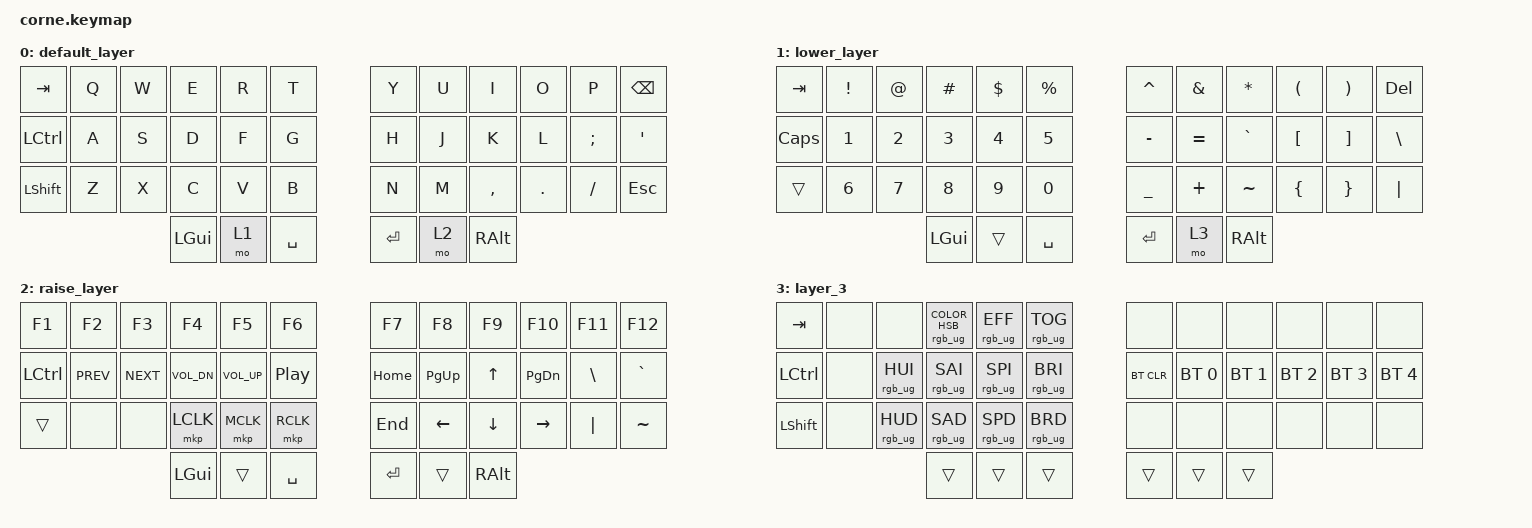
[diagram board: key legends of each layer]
/*
 * Copyright (c) 2020 The ZMK Contributors
 *
 * SPDX-License-Identifier: MIT
 */

#include <behaviors.dtsi>
#include <dt-bindings/zmk/bt.h>
#include <dt-bindings/zmk/keys.h>
#include <dt-bindings/zmk/mouse.h>
#include <dt-bindings/zmk/rgb.h>

/ {
    keymap {
        compatible = "zmk,keymap";

        default_layer {
            // -----------------------------------------------------------------------------------------
            // | TAB  |  Q  |  W  |  E  |  R  |  T  |  split  |  Y  |  U   |  I  |  O  |  P  | BKSP |
            // | CTRL |  A  |  S  |  D  |  F  |  G  |  split  |  H  |  J   |  K  |  L  |  ;  |  '   |
            // | SHFT |  Z  |  X  |  C  |  V  |  B  |  split  |  N  |  M   |  ,  |  .  |  /  | ESC  |
            //                    | GUI | LWR | SPC |  split  | ENT | RSE  | ALT |

            bindings = <
&kp TAB         &kp Q  &kp W  &kp E     &kp R  &kp T        &kp Y    &kp U  &kp I      &kp O    &kp P     &kp BSPC
&kp LCTRL       &kp A  &kp S  &kp D     &kp F  &kp G        &kp H    &kp J  &kp K      &kp L    &kp SEMI  &kp SQT
&kp LEFT_SHIFT  &kp Z  &kp X  &kp C     &kp V  &kp B        &kp N    &kp M  &kp COMMA  &kp DOT  &kp FSLH  &kp ESC
                              &kp LGUI  &mo 1  &kp SPACE    &kp RET  &mo 2  &kp RALT
            >;
        };

        lower_layer {
            // -----------------------------------------------------------------------------------------
            // | TAB  |  !  |  @  |  #  |  $  |  %  |  split  |  ^  |  &  |  *  |  (  |  )  | DEL |
            // | CTRL |  1  |  2  |  3  |  4  |  5  |  split  |  -  |  =  |  [  |  ]  |  \  |  `  |
            // | SHFT |  6  |  7  |  8  |  9  |  0  |  split  |  _  |  +  |  {  |  }  | "|" |  ~  |
            //                    | GUI |     | SPC |  split  | ENT | MO3 | ALT |

            bindings = <
&kp TAB   &kp EXCLAMATION  &kp AT_SIGN   &kp HASH      &kp DLLR      &kp PERCENT    &kp CARET       &kp AMPERSAND  &kp ASTERISK  &kp LEFT_PARENTHESIS  &kp RIGHT_PARENTHESIS  &kp DEL
&kp CAPS  &kp NUMBER_1     &kp NUMBER_2  &kp NUMBER_3  &kp NUMBER_4  &kp N5         &kp MINUS       &kp EQUAL      &kp GRAVE     &kp LEFT_BRACKET      &kp RIGHT_BRACKET      &kp BSLH
&trans    &kp N6           &kp N7        &kp N8        &kp N9        &kp N0         &kp UNDERSCORE  &kp PLUS       &kp TILDE     &kp LEFT_BRACE        &kp RIGHT_BRACE        &kp PIPE
                                         &kp LGUI      &trans        &kp SPACE      &kp RET         &mo 3          &kp RALT
            >;
        };

        raise_layer {
            // -----------------------------------------------------------------------------------------
            // |  F1  |  F2  |  F3  |  F4  |  F5  |  F6  |  split  |  F7  |  F8  |  F9  |  F10 | F11 | F12 |
            // | CTRL | PREV | NEXT |volDN |volUP | P-P  |  split  | HOME | PGUP |  Up  | PGUP |     |     |
            // | SHFT |  x   |  x   | L-C  | M-C  | R-C  |  split  | END  | LEFT | Down | RIGHT|     |     |
            //                      | GUI  |      | SPC  |  split  | ENT  |      | ALT  |

            bindings = <
&kp F1     &kp F2      &kp F3      &kp F4        &kp F5        &kp F6              &kp F7    &kp F8       &kp F9    &kp F10        &kp F11   &kp F12
&kp LCTRL  &kp C_PREV  &kp C_NEXT  &kp C_VOL_DN  &kp C_VOL_UP  &kp C_PLAY_PAUSE    &kp HOME  &kp PAGE_UP  &kp UP    &kp PAGE_DOWN  &kp BSLH  &kp GRAVE
&trans     &none       &none       &mkp LCLK     &mkp MCLK     &mkp RCLK           &kp END   &kp LEFT     &kp DOWN  &kp RIGHT      &kp PIPE  &kp TILDE
                                   &kp LGUI      &trans        &kp SPACE           &kp RET   &trans       &kp RALT
            >;
        };

        layer_3 {
            // -----------------------------------------------------------------------------------------
            // | TAB  |  x  |  x  | RED | EFF | TOG |  split  |  x  |  x  |  x  |  x  |  x  |  x  |
            // | CTRL |  x  | HUI | SAI | SPI | BRI |  split  |BCLE | BT0 | BT1 | BT2 | BT3 | BT4 |
            // | SHFT |  x  | HUD | SAD | SPD | BRD |  split  |  x  |  x  |  x  |  x  |  x  |  x  |
            //                    | GUI |     | SPC |  split  | ENT |     | ALT |

            bindings = <
&kp TAB     &none  &none            &rgb_ug RGB_COLOR_HSB(360,100,50)  &rgb_ug RGB_EFF  &rgb_ug RGB_TOG    &none       &none         &none         &none         &none         &none
&kp LCTRL   &none  &rgb_ug RGB_HUI  &rgb_ug RGB_SAI                    &rgb_ug RGB_SPI  &rgb_ug RGB_BRI    &bt BT_CLR  &bt BT_SEL 0  &bt BT_SEL 1  &bt BT_SEL 2  &bt BT_SEL 3  &bt BT_SEL 4
&kp LSHIFT  &none  &rgb_ug RGB_HUD  &rgb_ug RGB_SAD                    &rgb_ug RGB_SPD  &rgb_ug RGB_BRD    &none       &none         &none         &none         &none         &none
                                    &trans                             &trans           &trans             &trans      &trans        &trans
            >;
        };
    };
};
